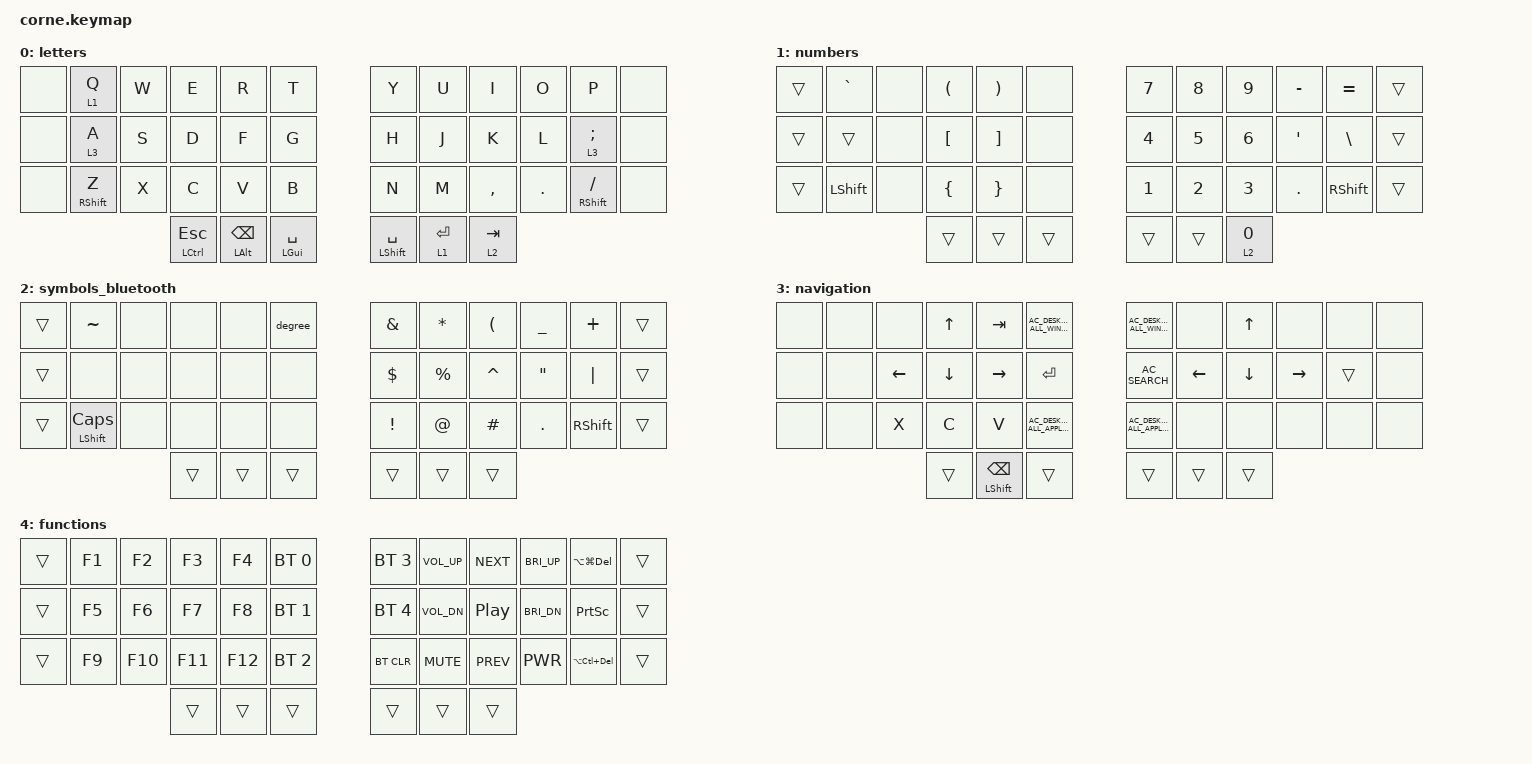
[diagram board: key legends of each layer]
#include <behaviors.dtsi>
#include <dt-bindings/zmk/bt.h>
#include <dt-bindings/zmk/keys.h>

/ {
    macros {
        degree: degree {
            compatible = "zmk,behavior-macro";
            #binding-cells = <0>;
            bindings =
                <&macro_press>,
                <&kp LALT>,
                <&macro_tap>,
                <&kp KP_NUMBER_0 &kp KP_N1 &kp KP_N7 &kp KP_N6>,
                <&macro_release>,
                <&kp LALT>;

            label = "DEGREE";
        };
    };

    keymap {
        compatible = "zmk,keymap";

        letters {
            bindings = <
&none  &lt 1 Q      &kp W  &kp E          &kp R               &kp T             &kp Y             &kp U      &kp I      &kp O    &kp P                 &none
&none  &lt 3 A      &kp S  &kp D          &kp F               &kp G             &kp H             &kp J      &kp K      &kp L    &lt 3 SEMI            &none
&none  &mt RSHFT Z  &kp X  &kp C          &kp V               &kp B             &kp N             &kp M      &kp COMMA  &kp DOT  &mt RIGHT_SHIFT FSLH  &none
                           &mt LCTRL ESC  &mt LALT BACKSPACE  &mt LGUI SPACE    &mt LSHIFT SPACE  &lt 1 RET  &lt 2 TAB
            >;
        };

        numbers {
            bindings = <
&trans  &kp GRAVE       &none  &kp LPAR          &kp RPAR           &none     &kp N7  &kp N8  &kp N9    &kp MINUS  &kp EQUAL  &trans
&trans  &trans          &none  &kp LEFT_BRACKET  &kp RIGHT_BRACKET  &none     &kp N4  &kp N5  &kp N6    &kp APOS   &kp BSLH   &trans
&trans  &kp LEFT_SHIFT  &none  &kp LEFT_BRACE    &kp RIGHT_BRACE    &none     &kp N1  &kp N2  &kp N3    &kp DOT    &kp RSHFT  &trans
                               &trans            &trans             &trans    &trans  &trans  &lt 2 N0
            >;
        };

        symbols_bluetooth {
            bindings = <
&trans  &kp TILDE            &none  &none   &none   &degree    &kp AMPS         &kp STAR     &kp LPAR   &kp UNDER          &kp PLUS    &trans
&trans  &none                &none  &none   &none   &none      &kp DOLLAR       &kp PERCENT  &kp CARET  &kp DOUBLE_QUOTES  &kp PIPE    &trans
&trans  &mt LSHIFT CAPSLOCK  &none  &none   &none   &none      &kp EXCLAMATION  &kp AT       &kp HASH   &kp DOT            &kp RSHIFT  &trans
                                    &trans  &trans  &trans     &trans           &trans       &trans
            >;
        };

        navigation {
            bindings = <
&none  &none  &none     &kp UP    &kp TAB                   &kp C_AC_DESKTOP_SHOW_ALL_WINDOWS         &kp C_AC_DESKTOP_SHOW_ALL_WINDOWS       &none     &kp UP    &none      &none   &none
&none  &none  &kp LEFT  &kp DOWN  &kp RIGHT                 &kp ENTER                                 &kp C_AC_SEARCH                         &kp LEFT  &kp DOWN  &kp RIGHT  &trans  &none
&none  &none  &kp X     &kp C     &kp V                     &kp C_AC_DESKTOP_SHOW_ALL_APPLICATIONS    &kp C_AC_DESKTOP_SHOW_ALL_APPLICATIONS  &none     &none     &none      &none   &none
                        &trans    &mt LEFT_SHIFT BACKSPACE  &trans                                    &trans                                  &trans    &trans
            >;
        };

        functions {
            bindings = <
&trans  &kp F1  &kp F2   &kp F3   &kp F4   &bt BT_SEL 0    &bt BT_SEL 3  &kp C_VOL_UP  &kp C_NEXT  &kp C_BRI_UP  &kp LA(LG(DELETE))  &trans
&trans  &kp F5  &kp F6   &kp F7   &kp F8   &bt BT_SEL 1    &bt BT_SEL 4  &kp C_VOL_DN  &kp C_PP    &kp C_BRI_DN  &kp PRINTSCREEN     &trans
&trans  &kp F9  &kp F10  &kp F11  &kp F12  &bt BT_SEL 2    &bt BT_CLR    &kp C_MUTE    &kp C_PREV  &kp C_PWR     &kp LA(LC(DEL))     &trans
                         &trans   &trans   &trans          &trans        &trans        &trans
            >;
        };
    };

    conditional_layers {
        compatible = "zmk,conditional-layers";

        both {
            if-layers = <1 2>;
            then-layer = <4>;
        };
    };
};
